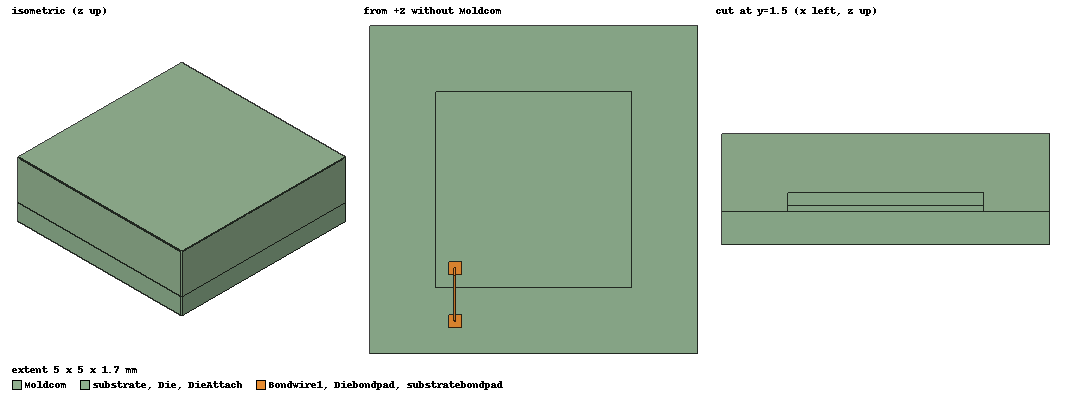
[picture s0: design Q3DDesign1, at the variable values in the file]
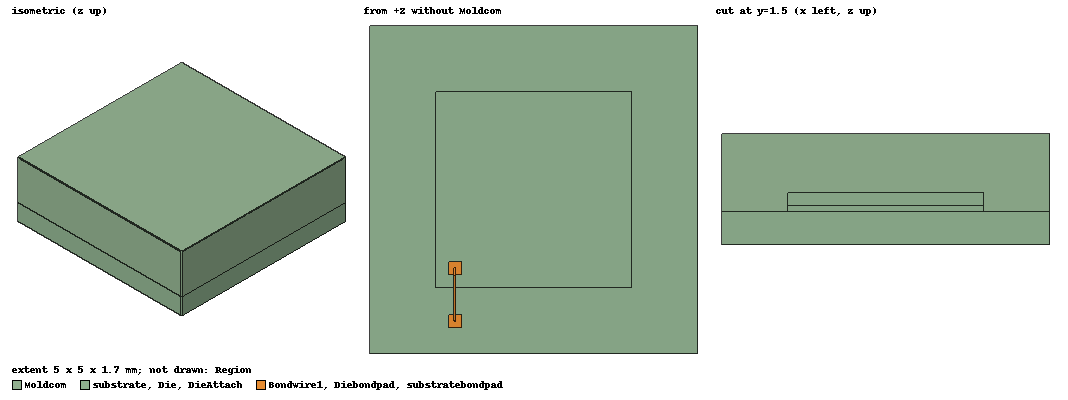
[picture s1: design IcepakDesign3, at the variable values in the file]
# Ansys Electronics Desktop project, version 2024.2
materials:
  vacuum: permittivity=1
  copper: permeability=0.999991 conductivity=58000000 thermal_conductivity=400 mass_density=8933 specific_heat=385 youngs_modulus=120000000000 poissons_ratio=0.38 thermal_expansion_coefficient=1.77e-05
  silicon: permittivity=11.9 thermal_conductivity=148 mass_density=2330 specific_heat=712 youngs_modulus=135000000000 poissons_ratio=0.25 thermal_expansion_coefficient=2.54e-06
  FR4_epoxy: permittivity=4.4 dielectric_loss_tangent=0.02 thermal_conductivity=0.294 mass_density=1900 specific_heat=1150 youngs_modulus=11000000000 poissons_ratio=0.28 thermal_expansion_coefficient=1.5e-05
  epoxy_Kevlar_xy: permittivity=3.6 thermal_conductivity=0.17 mass_density=450
  Al-Extruded: thermal_conductivity=205 mass_density=2800 specific_heat=900 youngs_modulus=69000000000 poissons_ratio=0.33 thermal_expansion_coefficient=2.277e-06 thermal_material_type=Solid
  air: permittivity=1.0006 permeability=1.0000004 thermal_conductivity=0.0261 mass_density=1.1614 specific_heat=1005 thermal_expansion_coefficient=0.00333 thermal_material_type=Fluid diffusivity=2.88e-05 molecular_mass=0.028966 viscosity=1.84e-05 material_refractive_index=1.000293
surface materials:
  Steel-oxidised-surface: surface_emissivity=0.8

design Q3DDesign1 (Q3D Extractor, model units mm)
options: SParamCalcMethod=EqTransLine Calculate_Lossy_Dielectrics
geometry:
  Die [silicon] = rectangle(corner=(0mm, 0mm, 0mm), x_size=3mm, y_size=3mm)
  Die.thicken(0.2mm)
  substrate [FR4_epoxy] = rectangle(corner=(-1mm, -1mm, -0.6mm), x_size=5mm, y_size=5mm)
  substrate.thicken(0.5mm)
  DieAttach [epoxy_Kevlar_xy] = rectangle(corner=(0mm, 0mm, -0.1mm), x_size=3mm, y_size=3mm)
  DieAttach.thicken(0.1mm)
  Diebondpad [copper] = rectangle(corner=(0.2mm, 0.2mm, 0.2mm), x_size=0.2mm, y_size=0.2mm)
  Diebondpad.thicken(0.005mm)
  substratebondpad [copper] = rectangle(corner=(0.2mm, -0.6mm, -0.1mm), x_size=0.2mm, y_size=0.2mm)
  Bondwire1 [copper] = bondwire(WireType=JEDEC_4Points WireDiameter=0.025mm NumSides=6 XPadPos=0.3mm YPadPos=0.3mm ZPadPos=0.205mm XDir=5.5511151e-17mm YDir=-0.8mm ZDir=0mm Distance=0.8mm h1=0.2mm h2=0.305mm alpha=80deg beta=0 WhichAxis=Z)
  substratebondpad.thicken(-0.005mm)
  Moldcom [epoxy_Kevlar_xy] = rectangle(corner=(-1mm, -1mm, -0.1mm), x_size=5mm, y_size=5mm)
  Moldcom.thicken(1.2mm)
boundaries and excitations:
  Source1: Source Faces=Die.face(at (1.5, 1.5, 0.2)) TerminalType=ConstantVoltage Net=-1
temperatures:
  Die, substrate, DieAttach, Diebondpad, substratebondpad, Bondwire1, Moldcom: 22cel
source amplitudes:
  Source1: AC R/L Fields 1A
  Source1: DC R/L Fields 1A

design IcepakDesign3 (Icepak, SteadyState TemperatureAndFlow, model units mm)
options: Default_Fluid_Material=air Default_Solid_Material=Al-Extruded Default_Surface_Material=Steel-oxidised-surface AmbientTemperature=20cel AmbientPressure=0n_per_meter_sq AmbientRadiationTemperature=20cel Gravity_Vector_CS_ID=Global Gravity_Vector_Axis=Z Positive=false Altitude=0meter OperatingPressure=101325n_per_meter_sq OperatingDensity=1.225kg_per_m3
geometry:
  Region [air] = region(percentage_offset=50 on all sides)
  Die [silicon] = rectangle(corner=(0mm, 0mm, 0mm), x_size=3mm, y_size=3mm)
  Die.thicken(0.2mm)
  substrate [FR4_epoxy] = rectangle(corner=(-1mm, -1mm, -0.6mm), x_size=5mm, y_size=5mm)
  substrate.thicken(0.5mm)
  DieAttach [epoxy_Kevlar_xy] = rectangle(corner=(0mm, 0mm, -0.1mm), x_size=3mm, y_size=3mm)
  DieAttach.thicken(0.1mm)
  Diebondpad [copper] = rectangle(corner=(0.2mm, 0.2mm, 0.2mm), x_size=0.2mm, y_size=0.2mm)
  Diebondpad.thicken(0.005mm)
  substratebondpad [copper] = rectangle(corner=(0.2mm, -0.6mm, -0.1mm), x_size=0.2mm, y_size=0.2mm)
  substratebondpad.thicken(-0.005mm)
  Bondwire1 [copper] = bondwire(WireType=JEDEC_4Points WireDiameter=0.025mm NumSides=6 XPadPos=0.3mm YPadPos=0.3mm ZPadPos=0.205mm XDir=5.5511151e-17mm YDir=-0.8mm ZDir=0mm Distance=0.8mm h1=0.2mm h2=0.305mm alpha=80deg beta=0 WhichAxis=Z)
  Moldcom [epoxy_Kevlar_xy] = rectangle(corner=(-1mm, -1mm, -0.1mm), x_size=5mm, y_size=5mm)
  Moldcom.thicken(1.2mm)
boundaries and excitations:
  Source1: Source Faces=Die.face(at (1.5, 1.5, 0.2)) Thermal_Condition="Total Power" Total_Power=1W
  Source2: Source Objects=substrate Thermal_Condition="Fixed Temperature" Temperature=AmbientTemp
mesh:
  Global:  MeshMethod=MesherHD ComputeGap MeshRegionResolution=3 MinGapX=1mm MinGapY=1mm MinGapZ=1mm Objects=Region FacetLevel=3 ProximitySizeFunction CurvatureSizeFunction OptimizePCBMesh
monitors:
  Die: Quantities(19) Objects=Die
  substrate: Quantities(19) Objects=substrate
  DieAttach: Quantities(19) Objects=DieAttach
  Moldcom: Quantities(19) Objects=Moldcom
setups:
  Setup1: IcepakSteadyState Flow_Regime=Laminar Include_Temperature=true Include_Flow=true Convergence_Criteria_-_Flow=0.001 Convergence_Criteria_-_Energy=1e-07 GPU_Convergence_Criteria_-_Flow=0.001 GPU_Convergence_Criteria_-_Energy=1e-05 disabled Radiation_Model=Off Under-relaxation_-_Pressure=0.3 Under-relaxation_-_Momentum=0.7 Under-relaxation_-_Temperature=1 Discretization_Scheme_-_Pressure=Standard Discretization_Scheme_-_Momentum=First Discretization_Scheme_-_Temperature=First Convergence_Criteria_-_Max_Iterations=100
  Setup2: IcepakSteadyState Flow_Regime=Laminar Include_Temperature=true Include_Flow=true Convergence_Criteria_-_Flow=0.001 Convergence_Criteria_-_Energy=1e-07 GPU_Convergence_Criteria_-_Flow=0.001 GPU_Convergence_Criteria_-_Energy=1e-05 disabled Radiation_Model=Off Under-relaxation_-_Pressure=0.3 Under-relaxation_-_Momentum=0.7 Under-relaxation_-_Temperature=1 Discretization_Scheme_-_Pressure=Standard Discretization_Scheme_-_Momentum=First Discretization_Scheme_-_Temperature=First Convergence_Criteria_-_Max_Iterations=100
